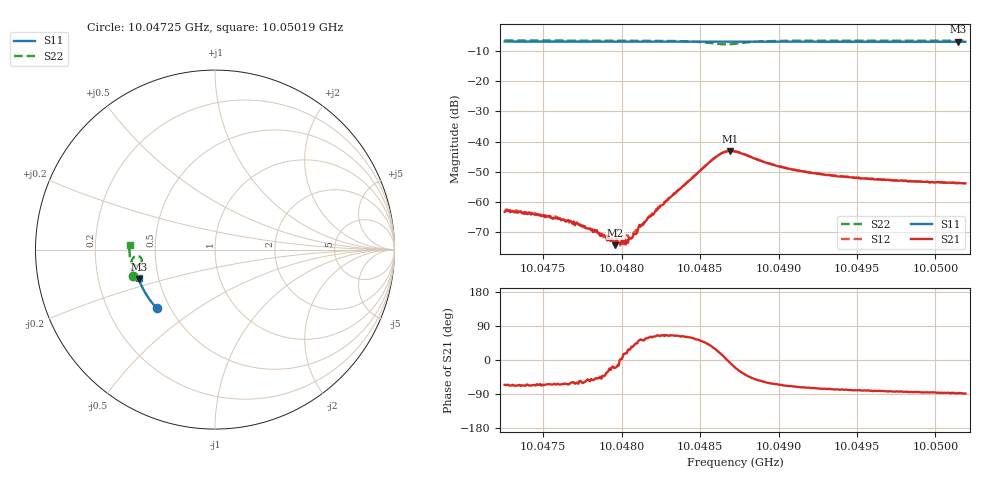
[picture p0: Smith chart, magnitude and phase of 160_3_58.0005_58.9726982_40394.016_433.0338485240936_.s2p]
#  HZ  S  RI  R  50.00
! Rohde & Schwarz Vector Network Analyzer
! Rohde-Schwarz,ZNB20-2Port,1311601062101988,3.16
! Created: UTC 3/21/2024, 12:57:24 AM
! freq[Hz]  re:S11  im:S11  re:S21  im:S21  re:S12  im:S12  re:S22  im:S22
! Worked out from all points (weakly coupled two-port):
!   401 points, 10.04725 GHz to 10.05019 GHz, reference 50 ohm
!   highest |S21| = -43.09 dB at 10.04869 GHz (marker M1); lowest = -74.4 dB at 10.04796 GHz (marker M2)
!   lowest |S11| = -6.8 dB at 10.05015 GHz (marker M3), VSWR 2.67, Z = 19.3 - j7.97 ohm
!   |S11| at or under -10 dB: nowhere
!   |S22| runs from -7.7 to -6.4 dB; largest |S21 - S12| = 0.00046
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1.0047255e10  -0.3255 -0.3255  0.00028 -0.000618  0.000339 -0.000647  -0.4553 -0.149
1.0047358e10  -0.3301 -0.3203  0.000257 -0.000645  0.000317 -0.000586  -0.4572 -0.1419
1.004757e10  -0.3395 -0.3098  0.000252 -0.000485  0.000254 -0.000489  -0.4609 -0.1272
1.0047747e10  -0.3471 -0.3008  0.000201 -0.000341  0.000237 -0.000331  -0.4635 -0.1146
1.0047842e10  -0.351 -0.2958  0.000221 -0.000256  0.000194 -0.000215  -0.4647 -0.1074
1.0047923e10  -0.3544 -0.2917  0.000214 -8.75e-05  0.000219 -7.38e-05  -0.4656 -0.101
1.0047959e10  -0.3557 -0.2897  0.000178 -6.67e-05  0.000196 -6.4e-05  -0.466 -0.098
1.0047981e10  -0.3567 -0.2886  0.000203 -5.39e-05  0.000183 -2.01e-05  -0.4663 -0.0963
1.004804e10  -0.3589 -0.2855  0.000184 9.35e-05  0.000229 0.000154  -0.4665 -0.0914
1.0048062e10  -0.3598 -0.2842  0.000203 0.000142  0.0002 0.000147  -0.4667 -0.0893
1.0048092e10  -0.3609 -0.2826  0.000209 0.000201  0.000231 0.000249  -0.4667 -0.0869
1.0048121e10  -0.3623 -0.2812  0.000225 0.000314  0.000256 0.000307  -0.4669 -0.0843
1.0048238e10  -0.3666 -0.2747  0.000353 0.000703  0.000317 0.00073  -0.4664 -0.0728
1.0048591e10  -0.3792 -0.2551  0.00453 0.00271  0.0044 0.00301  -0.4258 -0.0368
1.0048649e10  -0.3811 -0.252  0.0065 0.00113  0.00648 0.0015  -0.4094 -0.0516
1.0048693e10  -0.3826 -0.2498  0.00693 -0.00104  0.00701 -0.0006  -0.409 -0.0699
1.0048723e10  -0.3837 -0.2482  0.00643 -0.00231  0.00663 -0.0019  -0.4154 -0.0797
1.0048987e10  -0.3928 -0.2334  0.00175 -0.00353  0.00195 -0.00348  -0.4645 -0.0679
1.0049215e10  -0.4001 -0.2201  0.000833 -0.00288  0.00101 -0.00285  -0.4727 -0.0452
1.0049706e10  -0.414 -0.1909  0.000304 -0.00226  0.000407 -0.00226  -0.4768 -0.00613
1.0050147e10  -0.4245 -0.1638  0.000106 -0.00205  0.000209 -0.00204  -0.4761 0.0252
1.0050191e10  -0.4256 -0.161  4.9e-05 -0.00201  0.000189 -0.00201  -0.4759 0.0282
